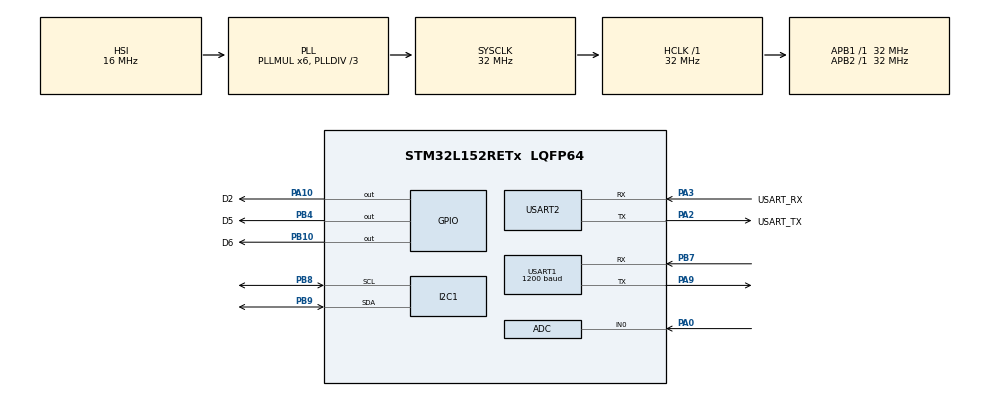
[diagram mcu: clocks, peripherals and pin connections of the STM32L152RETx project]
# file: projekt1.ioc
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ADC.Channel-6\#ChannelRegularConversion=ADC_CHANNEL_0
ADC.NbrOfConversionFlag=1
ADC.Rank-6\#ChannelRegularConversion=1
ADC.SamplingTime-6\#ChannelRegularConversion=ADC_SAMPLETIME_4CYCLES
Mcu.Family=STM32L1
Mcu.Name=STM32L152RETx
Mcu.Package=LQFP64
NVIC.PriorityGroup=NVIC_PRIORITYGROUP_0
PA0-WKUP1.Mode=IN0
PA0-WKUP1.Signal=ADC_IN0
PA1.Signal=ADC_IN1
PA10.GPIO_Label=D2
PA10.Signal=GPIO_Output
PA13.GPIO_Label=TMS
PA13.Mode=Serial_Wire
PA13.Signal=SYS_JTMS-SWDIO
PA14.GPIO_Label=TCK
PA14.Mode=Serial_Wire
PA14.Signal=SYS_JTCK-SWCLK
PA2.GPIO_Label=USART_TX
PA2.Mode=Asynchronous
PA2.Signal=USART2_TX
PA3.GPIO_Label=USART_RX
PA3.Mode=Asynchronous
PA3.Signal=USART2_RX
PA9.Mode=Asynchronous
PA9.Signal=USART1_TX
PB10.GPIO_Label=D6
PB10.Signal=GPIO_Output
PB3.GPIO_Label=SWO
PB3.Signal=SYS_JTDO-TRACESWO
PB4.GPIO_Label=D5
PB4.Signal=GPIO_Output
PB7.Mode=Asynchronous
PB7.Signal=USART1_RX
PB8.GPIO_Pu=GPIO_PULLUP
PB8.Mode=I2C
PB8.Signal=I2C1_SCL
PB9.GPIO_Pu=GPIO_PULLUP
PB9.Mode=I2C
PB9.Signal=I2C1_SDA
PC14-OSC32_IN.Mode=LSE-External-Oscillator
PC14-OSC32_IN.Signal=RCC_OSC32_IN
PC15-OSC32_OUT.Mode=LSE-External-Oscillator
PC15-OSC32_OUT.Signal=RCC_OSC32_OUT
PH0-OSC_IN.Mode=HSE-External-Clock-Source
PH0-OSC_IN.Signal=RCC_OSC_IN
PH1-OSC_OUT.Signal=RCC_OSC_OUT
ProjectManager.HeapSize=0x200
ProjectManager.StackSize=0x400
ProjectManager.TargetToolchain=STM32CubeIDE
RCC.48MHZClocksFreq_Value=48000000
RCC.AHBFreq_Value=32000000
RCC.APB1Freq_Value=32000000
RCC.APB1TimFreq_Value=32000000
RCC.APB2Freq_Value=32000000
RCC.APB2TimFreq_Value=32000000
RCC.HCLKFreq_Value=32000000
RCC.HSE_VALUE=8000000
RCC.HSI_VALUE=16000000
RCC.MSI_VALUE=2097000
RCC.PLLDIV=RCC_PLL_DIV3
RCC.PLLMUL=RCC_PLL_MUL6
RCC.RTCClockSelectionVirtual=RCC_RTCCLKSOURCE_LSE
RCC.SYSCLKFreq_VALUE=32000000
RCC.SYSCLKSource=RCC_SYSCLKSOURCE_PLLCLK
RCC.USBOutput=48000000
RCC.VCOOutputFreq_Value=96000000
USART1.BaudRate=1200
USART1.Mode=MODE_TX
USART1.VirtualMode=VM_ASYNC
USART2.VirtualMode=VM_ASYNC
board=NUCLEO-L152RE

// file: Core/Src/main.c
/* USER CODE BEGIN Header */
/**
  ******************************************************************************
  * @file           : main.c
  * @brief          : Main program body
  ******************************************************************************
  * @attention
  *
  * Copyright (c) 2025 STMicroelectronics.
  * All rights reserved.
  *
  * This software is licensed under terms that can be found in the LICENSE file
  * in the root directory of this software component.
  * If no LICENSE file comes with this software, it is provided AS-IS.
  *
  ******************************************************************************
  */
/* USER CODE END Header */
#include "main.h"

/* USER CODE BEGIN Includes */
#include <stdio.h>
/* USER CODE END Includes */

ADC_HandleTypeDef hadc;

I2C_HandleTypeDef hi2c1;

UART_HandleTypeDef huart1;
UART_HandleTypeDef huart2;

/* USER CODE BEGIN PV */
uint32_t adc_value;
float sensor_voltage;

// adresses of the sensors
#define HDC_ADDR	0x45 << 1
#define ILP_ADDR	0x5C << 1

// sensor regs for commands

/* USER CODE END PV */

void SystemClock_Config(void);
static void MX_GPIO_Init(void);
static void MX_USART2_UART_Init(void);
static void MX_ADC_Init(void);
static void MX_I2C1_Init(void);
static void MX_USART1_UART_Init(void);

int main(void)
{

  /* MCU Configuration--------------------------------------------------------*/

  /* Reset of all peripherals, Initializes the Flash interface and the Systick. */
  HAL_Init();

  /* Configure the system clock */
  SystemClock_Config();

  /* Initialize all configured peripherals */
  MX_GPIO_Init();
  MX_USART2_UART_Init();
  MX_ADC_Init();
  MX_I2C1_Init();
  MX_USART1_UART_Init();
  /* USER CODE BEGIN 2 */
  	  uint8_t i = 0, ret;
  	uint8_t Buffer[25] = {0};
  	uint8_t Space[] = " - ";
  	uint8_t StartMSG[] = "Starting I2C Scanning: \r\n";
  	uint8_t EndMSG[] = "Done! \r\n\r\n";

    HAL_UART_Transmit(&huart2, StartMSG, sizeof(StartMSG), 10000);
    for(i=1; i<128; i++)
    {
        ret = HAL_I2C_IsDeviceReady(&hi2c1, (uint16_t)(i<<1), 3, 5);
        if (ret != HAL_OK) /* No ACK Received At That Address */
        {
            HAL_UART_Transmit(&huart2, Space, sizeof(Space), 10000);
        }
        else if(ret == HAL_OK)
        {
            sprintf(Buffer, "0x%X", i);
            HAL_UART_Transmit(&huart2, Buffer, sizeof(Buffer), 10000);
        }
    }
    HAL_UART_Transmit(&huart2, EndMSG, sizeof(EndMSG), 10000);

    // HDC sensor init

    uint8_t read_id_cmd[2] = {0x37, 0x81};
    HAL_I2C_Master_Transmit(&hi2c1, HDC_ADDR, read_id_cmd, 2, HAL_MAX_DELAY);

    // 2. Read the 3byte response
    uint8_t id_buffer[3];
    HAL_I2C_Master_Receive(&hi2c1, HDC_ADDR, id_buffer, 3, HAL_MAX_DELAY);

    // 3. Check if the ID is 0x3000
    if (id_buffer[0] == 0x30 && id_buffer[1] == 0x00)
    {
        printf("HDC sensor works\n\r");
    }

    //ilp sensor
	  uint8_t data_to_write = 0x40;
	  uint16_t reg_address = 0x10; // CTRL_REG1

	  HAL_I2C_Mem_Write(&hi2c1,
			  	  	  	ILP_ADDR,
	                    reg_address,
	                    I2C_MEMADD_SIZE_8BIT,
	                    &data_to_write,
	                    1,
	                    100);
	  HAL_Delay(1000);

	  // sending integers through 433 MHz

#define HEAD_HUMIDITY 0x2D  // Header for Humidity
#define HEAD_DANGER   0x21  // Header for MQ135

void Send_Packet(uint16_t value, uint8_t type_header) {
    uint8_t packet[7];

    packet[0] = 0xAA;
    packet[1] = 0xAA;
    packet[2] = 0xAA;

    packet[3] = type_header;

    packet[4] = (value >> 8) & 0xFF;
    packet[5] = value & 0xFF;

    packet[6] = packet[4] + packet[5];

    HAL_UART_Transmit(&huart1, packet, 7, 100);
}

  /* USER CODE END 2 */

  /* Infinite loop */
  while (1)
  {

    /* USER CODE BEGIN 3 */
	  // comms with ILP sensor
	  uint8_t pressure_data[3];
	  uint16_t start_reg_address = 0x28;
	  float pressure_raw;
	  float pressure_hPa;
	  uint8_t danger_level = 0;

	  HAL_I2C_Mem_Read(&hi2c1,
	                   ILP_ADDR,
	                   start_reg_address,
	                   I2C_MEMADD_SIZE_8BIT,
	                   pressure_data,
	                   3,
	                   100);

	  pressure_raw = (int32_t)((pressure_data[2] << 16) | (pressure_data[1] << 8) | pressure_data[0]);
	  pressure_hPa = (float)pressure_raw / 4096.0f;
	  printf("Pressure: %.2f hPa\n\r", pressure_hPa);

	  HAL_Delay(100);
	  // comms with HDC sensor

	  //first we send 2 byte trigger on demand command
	  uint8_t cmd_buffer[2];
	  cmd_buffer[0] = 0x24;
	  cmd_buffer[1] = 0x00;

	  HAL_I2C_Master_Transmit(&hi2c1, HDC_ADDR, cmd_buffer, 2, HAL_MAX_DELAY);

	  HAL_Delay(15);

	  // now we get the 6 byte data from sensor with temperature and humidity
	  uint8_t rx_buffer[6];

	  HAL_I2C_Master_Receive(&hi2c1, HDC_ADDR, rx_buffer, 6, HAL_MAX_DELAY);

	  uint16_t T_raw = (rx_buffer[0] << 8) | rx_buffer[1];

	  uint16_t RH_raw = (rx_buffer[3] << 8) | rx_buffer[4];

	  float temperature = -45.0f + (175.0f * (float)T_raw / 65535.0f);

	  float humidity = 100.0f * (float)RH_raw / 65535.0f;

	  printf("temperature: %.2f C, humidity: %.2f \n\r", temperature, humidity);

	  // end for HDC sensor

	  // communication with the analog sensor for air quality
	  HAL_ADC_Start(&hadc);

	  HAL_ADC_PollForConversion(&hadc, HAL_MAX_DELAY);

	  uint32_t value = HAL_ADC_GetValue(&hadc);

	  float voltage = 3.3f * value / 4096.0f;

	  if (voltage <= 0.8f)
	  {
		  danger_level = 0;
	  }
	  else if (voltage <= 1.5f)
	  {
		  danger_level = 1;
	  }
	  else
	  {
		  danger_level = 2;
	  }

	  //send data to another stm32
	  printf("humidity sent: %d", humidity);
	  Send_Packet((int)humidity, HEAD_HUMIDITY);
	  HAL_Delay(100);

	  printf("danger level sent: %d", danger_level);
	  Send_Packet((int)danger_level, HEAD_DANGER);

	  HAL_Delay(1000);

	  // showing the data
	  //HAL_GPIO_WritePin(D6_GPIO_Port, D6_Pin, GPIO_PIN_RESET);
	  //HAL_GPIO_WritePin(D5_GPIO_Port, D5_Pin, GPIO_PIN_RESET);
	  //HAL_GPIO_WritePin(D2_GPIO_Port, D2_Pin, GPIO_PIN_RESET);

	  //if (voltage <= 0.8f)
	  //{
		  //printf("ADC = %.3f V, Quality: GOOD \n\r", voltage);
		  //HAL_GPIO_WritePin(D2_GPIO_Port, D2_Pin, GPIO_PIN_SET);
	  //}
	  //else if (voltage <= 1.5f)
	  //{
		  //printf("ADC = %.3f V, Quality: MEDIUM \n\r", voltage);
		  //HAL_GPIO_WritePin(D5_GPIO_Port, D5_Pin, GPIO_PIN_SET);
	  //}
	  //else
	  //{
		  //printf("ADC = %.3f V, Quality: BAD \n\r", voltage);
		  //HAL_GPIO_WritePin(D6_GPIO_Port, D6_Pin, GPIO_PIN_SET);
	  //}

  }
  /* USER CODE END 3 */
}

void SystemClock_Config(void)
{
  RCC_OscInitTypeDef RCC_OscInitStruct = {0};
  RCC_ClkInitTypeDef RCC_ClkInitStruct = {0};

  /** Configure the main internal regulator output voltage
  */
  __HAL_PWR_VOLTAGESCALING_CONFIG(PWR_REGULATOR_VOLTAGE_SCALE1);

  /** Initializes the RCC Oscillators according to the specified parameters
  * in the RCC_OscInitTypeDef structure.
  */
  RCC_OscInitStruct.OscillatorType = RCC_OSCILLATORTYPE_HSI;
  RCC_OscInitStruct.HSIState = RCC_HSI_ON;
  RCC_OscInitStruct.HSICalibrationValue = RCC_HSICALIBRATION_DEFAULT;
  RCC_OscInitStruct.PLL.PLLState = RCC_PLL_ON;
  RCC_OscInitStruct.PLL.PLLSource = RCC_PLLSOURCE_HSI;
  RCC_OscInitStruct.PLL.PLLMUL = RCC_PLL_MUL6;
  RCC_OscInitStruct.PLL.PLLDIV = RCC_PLL_DIV3;
  if (HAL_RCC_OscConfig(&RCC_OscInitStruct) != HAL_OK)
  {
    Error_Handler();
  }

  /** Initializes the CPU, AHB and APB buses clocks
  */
  RCC_ClkInitStruct.ClockType = RCC_CLOCKTYPE_HCLK|RCC_CLOCKTYPE_SYSCLK
                              |RCC_CLOCKTYPE_PCLK1|RCC_CLOCKTYPE_PCLK2;
  RCC_ClkInitStruct.SYSCLKSource = RCC_SYSCLKSOURCE_PLLCLK;
  RCC_ClkInitStruct.AHBCLKDivider = RCC_SYSCLK_DIV1;
  RCC_ClkInitStruct.APB1CLKDivider = RCC_HCLK_DIV1;
  RCC_ClkInitStruct.APB2CLKDivider = RCC_HCLK_DIV1;

  if (HAL_RCC_ClockConfig(&RCC_ClkInitStruct, FLASH_LATENCY_1) != HAL_OK)
  {
    Error_Handler();
  }
}

static void MX_ADC_Init(void)
{

  ADC_ChannelConfTypeDef sConfig = {0};

  /** Configure the global features of the ADC (Clock, Resolution, Data Alignment and number of conversion)
  */
  hadc.Instance = ADC1;
  hadc.Init.ClockPrescaler = ADC_CLOCK_ASYNC_DIV1;
  hadc.Init.Resolution = ADC_RESOLUTION_12B;
  hadc.Init.DataAlign = ADC_DATAALIGN_RIGHT;
  hadc.Init.ScanConvMode = ADC_SCAN_DISABLE;
  hadc.Init.EOCSelection = ADC_EOC_SEQ_CONV;
  hadc.Init.LowPowerAutoWait = ADC_AUTOWAIT_DISABLE;
  hadc.Init.LowPowerAutoPowerOff = ADC_AUTOPOWEROFF_DISABLE;
  hadc.Init.ChannelsBank = ADC_CHANNELS_BANK_A;
  hadc.Init.ContinuousConvMode = DISABLE;
  hadc.Init.NbrOfConversion = 1;
  hadc.Init.DiscontinuousConvMode = DISABLE;
  hadc.Init.ExternalTrigConv = ADC_SOFTWARE_START;
  hadc.Init.ExternalTrigConvEdge = ADC_EXTERNALTRIGCONVEDGE_NONE;
  hadc.Init.DMAContinuousRequests = DISABLE;
  if (HAL_ADC_Init(&hadc) != HAL_OK)
  {
    Error_Handler();
  }

  /** Configure for the selected ADC regular channel its corresponding rank in the sequencer and its sample time.
  */
  sConfig.Channel = ADC_CHANNEL_0;
  sConfig.Rank = ADC_REGULAR_RANK_1;
  sConfig.SamplingTime = ADC_SAMPLETIME_4CYCLES;
  if (HAL_ADC_ConfigChannel(&hadc, &sConfig) != HAL_OK)
  {
    Error_Handler();
  }

}

static void MX_I2C1_Init(void)
{

  hi2c1.Instance = I2C1;
  hi2c1.Init.ClockSpeed = 100000;
  hi2c1.Init.DutyCycle = I2C_DUTYCYCLE_2;
  hi2c1.Init.OwnAddress1 = 0;
  hi2c1.Init.AddressingMode = I2C_ADDRESSINGMODE_7BIT;
  hi2c1.Init.DualAddressMode = I2C_DUALADDRESS_DISABLE;
  hi2c1.Init.OwnAddress2 = 0;
  hi2c1.Init.GeneralCallMode = I2C_GENERALCALL_DISABLE;
  hi2c1.Init.NoStretchMode = I2C_NOSTRETCH_DISABLE;
  if (HAL_I2C_Init(&hi2c1) != HAL_OK)
  {
    Error_Handler();
  }

}

static void MX_USART1_UART_Init(void)
{

  huart1.Instance = USART1;
  huart1.Init.BaudRate = 1200;
  huart1.Init.WordLength = UART_WORDLENGTH_8B;
  huart1.Init.StopBits = UART_STOPBITS_1;
  huart1.Init.Parity = UART_PARITY_NONE;
  huart1.Init.Mode = UART_MODE_TX;
  huart1.Init.HwFlowCtl = UART_HWCONTROL_NONE;
  huart1.Init.OverSampling = UART_OVERSAMPLING_16;
  if (HAL_UART_Init(&huart1) != HAL_OK)
  {
    Error_Handler();
  }

}

static void MX_USART2_UART_Init(void)
{

  huart2.Instance = USART2;
  huart2.Init.BaudRate = 115200;
  huart2.Init.WordLength = UART_WORDLENGTH_8B;
  huart2.Init.StopBits = UART_STOPBITS_1;
  huart2.Init.Parity = UART_PARITY_NONE;
  huart2.Init.Mode = UART_MODE_TX_RX;
  huart2.Init.HwFlowCtl = UART_HWCONTROL_NONE;
  huart2.Init.OverSampling = UART_OVERSAMPLING_16;
  if (HAL_UART_Init(&huart2) != HAL_OK)
  {
    Error_Handler();
  }

}

static void MX_GPIO_Init(void)
{
  GPIO_InitTypeDef GPIO_InitStruct = {0};

  /* GPIO Ports Clock Enable */
  __HAL_RCC_GPIOC_CLK_ENABLE();
  __HAL_RCC_GPIOH_CLK_ENABLE();
  __HAL_RCC_GPIOA_CLK_ENABLE();
  __HAL_RCC_GPIOB_CLK_ENABLE();

  /*Configure GPIO pin Output Level */
  HAL_GPIO_WritePin(GPIOB, D6_Pin|D5_Pin, GPIO_PIN_RESET);

  /*Configure GPIO pin Output Level */
  HAL_GPIO_WritePin(D2_GPIO_Port, D2_Pin, GPIO_PIN_RESET);

  /*Configure GPIO pins : D6_Pin D5_Pin */
  GPIO_InitStruct.Pin = D6_Pin|D5_Pin;
  GPIO_InitStruct.Mode = GPIO_MODE_OUTPUT_PP;
  GPIO_InitStruct.Pull = GPIO_NOPULL;
  GPIO_InitStruct.Speed = GPIO_SPEED_FREQ_LOW;
  HAL_GPIO_Init(GPIOB, &GPIO_InitStruct);

  /*Configure GPIO pin : D2_Pin */
  GPIO_InitStruct.Pin = D2_Pin;
  GPIO_InitStruct.Mode = GPIO_MODE_OUTPUT_PP;
  GPIO_InitStruct.Pull = GPIO_NOPULL;
  GPIO_InitStruct.Speed = GPIO_SPEED_FREQ_LOW;
  HAL_GPIO_Init(D2_GPIO_Port, &GPIO_InitStruct);

}

/* USER CODE BEGIN 4 */

int __io_putchar(int ch)
{
  HAL_UART_Transmit(&huart2, (uint8_t *)&ch, 1, HAL_MAX_DELAY);
  return ch;
}
/* USER CODE END 4 */

void Error_Handler(void)
{
  __disable_irq();
  while (1)
  {
  }
}
